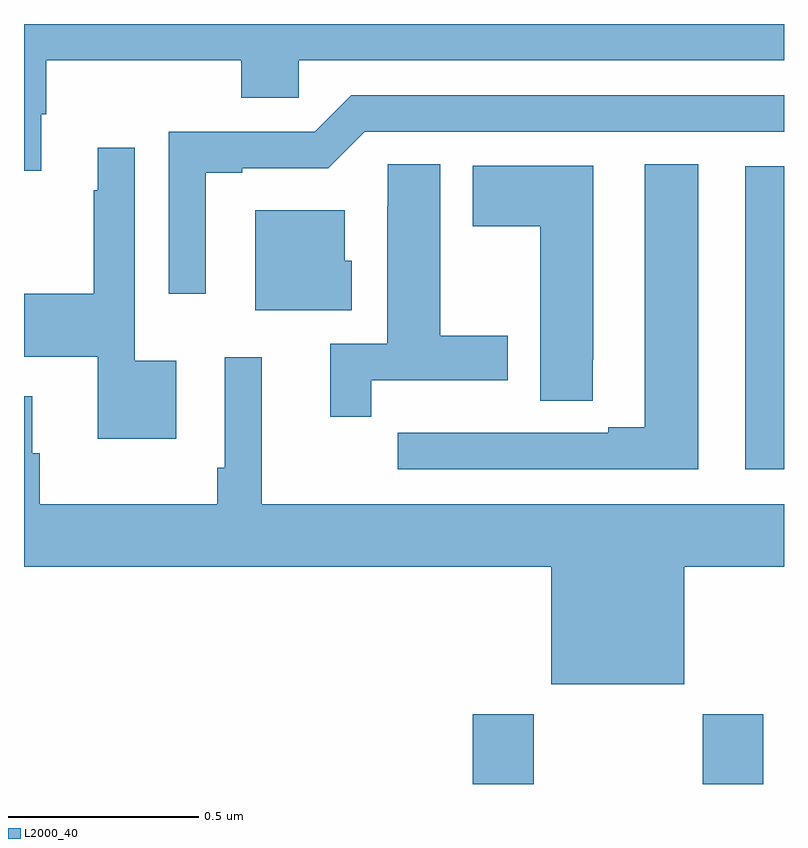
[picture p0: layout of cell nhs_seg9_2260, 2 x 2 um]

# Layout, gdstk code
import gdstk
lib = gdstk.Library(unit=1e-6, precision=1e-09)
def R(c, l, rs):  # rectangles x0, y0, x1, y1
    for r in rs: c.add(gdstk.rectangle(r[:2], r[2:], *l))
def P(c, l, *ps):  # polygons
    for p in ps: c.add(gdstk.Polygon(p, *l))
L2000_40 = (2000, 40)

nhs_seg9_2260 = lib.new_cell('nhs_seg9_2260')
R(nhs_seg9_2260, L2000_40, [(139.181,1210.5,139.341,1210.684), (139.786,1210.5,139.946,1210.684), (139.898,1211.328,140,1212.126)])
P(nhs_seg9_2260, L2000_40, [(138.046,1212.262),(138.059,1212.262),(138.059,1212.404),(138.572,1212.404),(138.572,1212.306),(138.723,1212.306),(138.723,1212.404),(140,1212.404),(140,1212.5),(138,1212.5),(138,1212.114),(138.046,1212.114)],
  [(138.478,1212.108),(138.574,1212.108),(138.574,1212.12),(138.801,1212.12),(138.897,1212.216),(140,1212.216),(140,1212.312),(138.861,1212.312),(138.765,1212.216),(138.381,1212.216),(138.381,1211.79),(138.478,1211.79)],
  [(138.4,1211.614),(138.291,1211.614),(138.291,1212.175),(138.194,1212.175),(138.194,1212.062),(138.183,1212.062),(138.183,1211.79),(138,1211.79),(138,1211.624),(138.194,1211.624),(138.194,1211.408),(138.4,1211.408)],
  [(139.774,1212.131),(139.634,1212.131),(139.634,1211.439),(139.538,1211.439),(139.538,1211.424),(139.262,1211.424),(139.262,1211.425),(139.096,1211.425),(139.096,1211.424),(138.984,1211.424),(138.984,1211.328),(139.774,1211.328)],
  [(138.914,1211.562),(139.273,1211.562),(139.273,1211.679),(139.096,1211.679),(139.096,1212.131),(138.957,1212.131),(138.957,1212.02),(138.956,1212.02),(138.956,1211.658),(138.806,1211.658),(138.806,1211.466),(138.914,1211.466)],
  [(139.497,1211.617),(139.498,1211.617),(139.498,1212.127),(139.181,1212.127),(139.181,1211.968),(139.358,1211.968),(139.358,1211.509),(139.497,1211.509)],
  [(138.862,1211.877),(138.844,1211.877),(138.844,1212.01),(138.608,1212.01),(138.608,1211.747),(138.862,1211.747)],
  [(139.738,1211.072),(140,1211.072),(140,1211.236),(138.626,1211.236),(138.626,1211.623),(138.528,1211.623),(138.528,1211.332),(138.508,1211.332),(138.508,1211.236),(138.041,1211.236),(138.041,1211.37),(138.022,1211.37),(138.022,1211.521),(138,1211.521),(138,1211.072),(139.388,1211.072),(139.388,1210.763),(139.738,1210.763)])

lib.write_gds('nhs_seg9_2260.gds')
